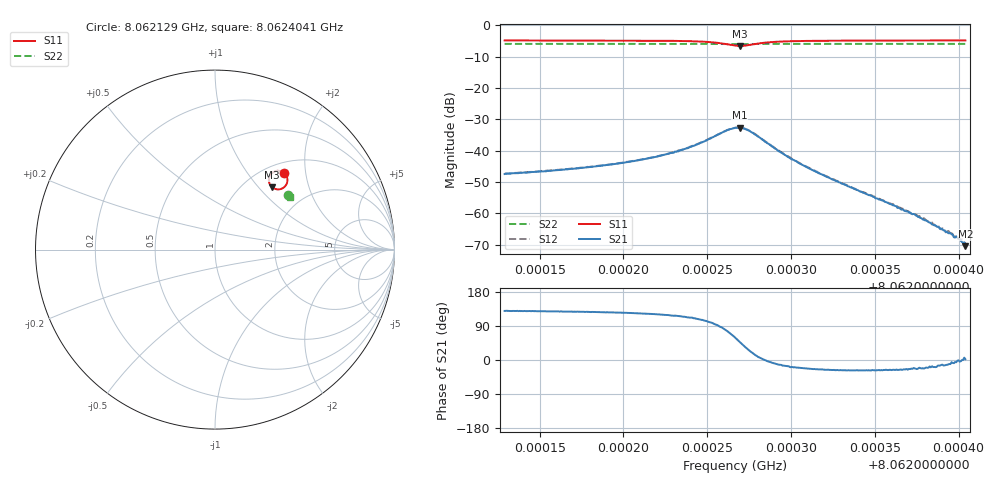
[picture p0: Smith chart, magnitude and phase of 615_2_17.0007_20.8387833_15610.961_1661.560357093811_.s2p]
#  HZ  S  RI  R  50.00
! Rohde & Schwarz Vector Network Analyzer
! Rohde-Schwarz,ZNB20-2Port,1311601062101988,3.16
! Created: UTC 3/20/2024, 11:19:41 PM
! freq[Hz]  re:S11  im:S11  re:S21  im:S21  re:S12  im:S12  re:S22  im:S22
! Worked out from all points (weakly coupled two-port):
!   401 points, 8.062129 GHz to 8.0624041 GHz, reference 50 ohm
!   highest |S21| = -32.66 dB at 8.0622693 GHz (marker M1); lowest = -70.5 dB at 8.0624041 GHz (marker M2)
!   lowest |S11| = -6.5 dB at 8.0622693 GHz (marker M3), VSWR 2.78, Z = 66.6 + j59.4 ohm
!   |S11| at or under -10 dB: nowhere
!   |S22| runs from -6.0 to -5.9 dB; largest |S21 - S12| = 0.0014
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8.06212904e9  0.3861 0.4271  -0.0027 0.00327  -0.00251 0.00342  0.4069 0.3042
8.06217511e9  0.3918 0.4208  -0.00321 0.00424  -0.00299 0.00441  0.4086 0.3019
8.06219918e9  0.3955 0.4154  -0.00364 0.00522  -0.00334 0.00551  0.4094 0.3005
8.06222118e9  0.4 0.4064  -0.00413 0.00708  -0.00374 0.00739  0.4102 0.2988
8.06223768e9  0.4034 0.3924  -0.00422 0.0101  -0.00369 0.0103  0.4109 0.2974
8.06225281e9  0.3979 0.3635  -0.00227 0.016  -0.00123 0.0162  0.4107 0.2957
8.06226175e9  0.3694 0.3386  0.00485 0.0207  0.00604 0.0204  0.4095 0.2944
8.06226656e9  0.3378 0.3374  0.0117 0.02  0.0129 0.0193  0.4082 0.2945
8.06226931e9  0.319 0.3471  0.0156 0.0173  0.0167 0.0165  0.4075 0.295
8.06227206e9  0.3059 0.3634  0.0181 0.0134  0.019 0.0125  0.4073 0.2958
8.0622755e9  0.3 0.3866  0.0188 0.00812  0.0192 0.00724  0.4074 0.2967
8.06228513e9  0.3192 0.4274  0.0136 -0.00032  0.0137 -0.00125  0.4091 0.2979
8.06229957e9  0.3475 0.439  0.00712 -0.00248  0.00725 -0.00283  0.4111 0.2973
8.06231263e9  0.3608 0.4384  0.00454 -0.00198  0.00445 -0.00231  0.412 0.2965
8.06232364e9  0.3674 0.4367  0.00321 -0.00158  0.00317 -0.00176  0.4127 0.2957
8.06235871e9  0.3787 0.4319  0.00127 -0.000619  0.00123 -0.000746  0.4142 0.2938
8.06237452e9  0.3816 0.4301  0.000851 -0.000359  0.000854 -0.00043  0.4149 0.2928
8.06237796e9  0.3821 0.4298  0.000769 -0.000315  0.000801 -0.000338  0.415 0.2926
8.06239102e9  0.3841 0.4285  0.000516 -0.000135  0.000538 -0.000171  0.4154 0.2919
8.06239515e9  0.3848 0.4281  0.000475 -9.01e-05  0.000444 -9.42e-05  0.4156 0.2917
8.06239996e9  0.3851 0.4277  0.000401 -5.69e-06  0.00039 -7.8e-05  0.4158 0.2915
8.06240409e9  0.3859 0.4274  0.000298 1.06e-05  0.000348 -2.2e-05  0.416 0.2912
